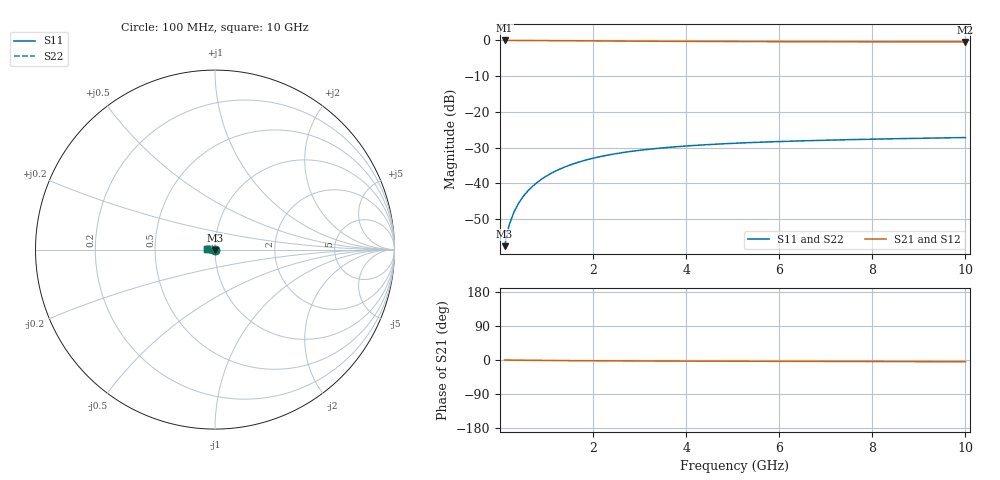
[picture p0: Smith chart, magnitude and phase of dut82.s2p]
! Touchstone file exported from HFSS 2024.1.0
!  File:  C:/UserFiles/LocalFiles/RDL_TSV_Batchsim/temp_TSV1_82_1779375097.aedt
!  Generated:  10:56:38 PM May 21, 2026
!  Design:  TSV1
!  Project:  temp_TSV1_82_1779375097
!  Setup:  Setup1
!  Solution:  Sweep
! Variables:
!  dtsv = 13.26um
!  hbump = 3um
!  htsv = 67.65um
!  lrdl = 252.1521522um
!  p = 40
!  p1 = 59.4um
!  t = 500um
!  trdl = 3um
!  wrdl = 24.89489489um
# GHz S MA R 50.000000
! Terminal data exported
! Port[1] = TSV22_T1
! Port[2] = TSV22_T2
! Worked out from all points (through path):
!   100 points, 100 MHz to 10 GHz, reference 50 ohm
!   highest |S21| = 0.00 dB at 100 MHz (marker M1); lowest = -0.4 dB at 10 GHz (marker M2)
!   lowest |S11| = -57.6 dB at 100 MHz (marker M3), VSWR 1.00, Z = 50 - j0.132 ohm
!   |S11| at or under -10 dB: start of sweep to end of sweep
!   |S22| runs from -57.6 to -27.2 dB; largest |S21 - S12| = 2.2e-15
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0.1  0.001325 -88.7  0.9999 -0.1  0.9999 -0.1  0.001325 -88.7
! Gamma 0 0 0 0
! Port Impedance 50 0 50 0
0.2  0.002647 -92.2  0.9997 -0.2  0.9997 -0.2  0.002647 -92.2
0.3  0.003965 -94.7  0.9995 -0.4  0.9995 -0.4  0.003965 -94.7
0.4  0.005276 -97.0  0.9991 -0.5  0.9991 -0.5  0.005276 -97.0
0.5  0.006573 -99.2  0.9987 -0.6  0.9987 -0.6  0.006573 -99.2
0.6  0.007851 -101.3  0.9982 -0.7  0.9982 -0.7  0.007851 -101.3
0.7  0.009107 -103.3  0.9976 -0.8  0.9976 -0.8  0.009107 -103.3
0.8  0.01034 -105.3  0.997 -0.9  0.997 -0.9  0.01034 -105.3
0.9  0.01154 -107.3  0.9963 -1.1  0.9963 -1.1  0.01154 -107.3
1.1  0.01385 -111.1  0.9948 -1.3  0.9948 -1.3  0.01385 -111.1
1.4  0.01705 -116.5  0.9922 -1.5  0.9922 -1.5  0.01705 -116.5
1.6  0.01901 -119.9  0.9903 -1.7  0.9903 -1.7  0.01901 -119.9
1.8  0.02082 -123.1  0.9884 -1.8  0.9884 -1.8  0.02082 -123.1
2.1  0.02328 -127.7  0.9856 -2.0  0.9856 -2.0  0.02328 -127.7
2.5  0.02612 -133.2  0.982 -2.3  0.982 -2.3  0.02612 -133.2
2.9  0.02851 -138.1  0.9787 -2.5  0.9787 -2.5  0.02851 -138.1
3.4  0.03098 -143.5  0.975 -2.7  0.975 -2.7  0.03098 -143.5
4.2  0.03404 -150.9  0.9701 -2.9  0.9701 -2.9  0.03404 -150.9
5.1  0.03659 -157.8  0.9658 -3.2  0.9658 -3.2  0.03659 -157.8
6.7  0.03974 -167.7  0.9606 -3.6  0.9606 -3.6  0.03974 -167.7
8.4  0.04207 -175.9  0.957 -4.1  0.957 -4.1  0.04207 -175.9
10  0.04382 177.6  0.9548 -4.6  0.9548 -4.6  0.04382 177.6
